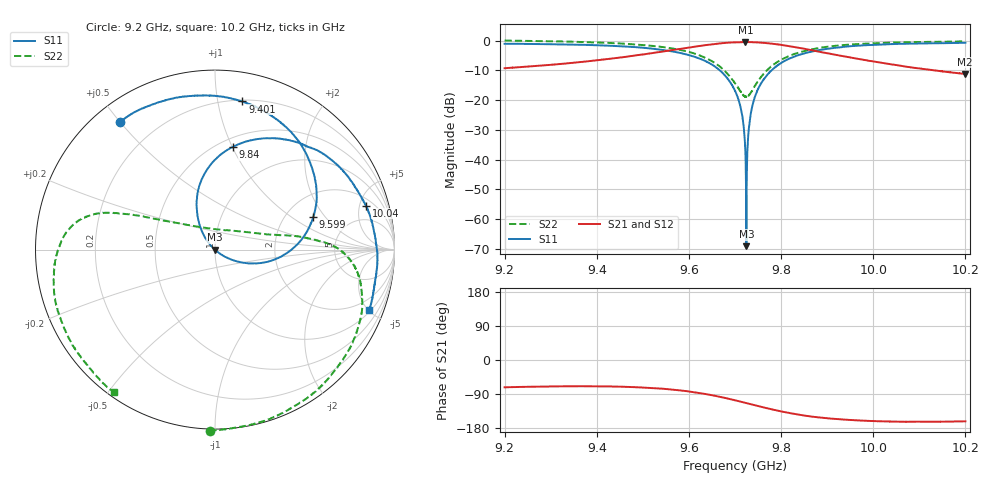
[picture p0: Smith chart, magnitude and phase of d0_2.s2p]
!Agilent Technologies,N5242A,MY51221714,A.09.90.19
!Agilent N5242A: A.09.90.19
!Date: Friday, February 02, 2024 13:05:31
!Correction: S11(Full 2 Port(1,2))
!S21(Full 2 Port(1,2))
!S12(Full 2 Port(1,2))
!S22(Full 2 Port(1,2))
!S2P File: Measurements: S11, S21, S12, S22:
# Hz S  dB  R 50
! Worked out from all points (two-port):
!   16001 points, 9.2 GHz to 10.2 GHz, reference 50 ohm
!   highest |S21| = -0.44 dB at 9.723 GHz (marker M1); lowest = -11.2 dB at 10.2 GHz (marker M2)
!   |S21| within 3 dB of the highest: 9.552 GHz to 9.874 GHz (322.7 MHz wide, 3.32 % of centre); 9.874367 GHz to 9.874381 GHz (14.36 kHz wide, 0.000145 % of centre)
!   lowest |S11| = -69.2 dB at 9.725 GHz (marker M3), VSWR 1.00, Z = 50 + j0.00453 ohm
!   |S11| at or under -10 dB: 9.667121 GHz to 9.667147 GHz (25.81 kHz wide, 0.000267 % of centre); 9.667 GHz to 9.779 GHz (112.1 MHz wide, 1.15 % of centre)
!   |S22| runs from -19.0 to 0.1 dB; largest |S21 - S12| = 0.019
!   S11 on the Smith chart (normalised r, x): 9.2 GHz: 0.08, +0.50; 9.401 GHz: 0.21, +1.18; 9.599 GHz: 2.81, +1.52; 9.84 GHz: 0.58, +1.00; 10.04 GHz: 2.73, +5.76; 10.2 GHz: 1.12, -5.04
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9.2e9  -1.04 126.7  -9.25 -72.0  -9.22 -73.0  0.08 -91.7
9.366688e9  -1.37 88.2  -7.14 -69.2  -7.12 -70.0  -0.44 -46.5
9.401e9  -1.52 79.5  -6.57 -69.3  -6.55 -70.3  -0.60 -37.7
9.533375e9  -2.92 41.7  -3.89 -75.0  -3.87 -75.8  -1.95 -8.6
9.598562e9  -4.79 18.2  -2.34 -82.8  -2.32 -83.8  -3.70 2.1
9.660812e9  -9.22 -8.4  -1.02 -95.6  -1.00 -96.4  -7.94 11.4
9.7e9  -16.84 -27.4  -0.53 -106.3  -0.51 -107.3  -14.29 30.7
9.714625e9  -24.30 -36.5  -0.46 -110.7  -0.43 -111.6  -17.63 55.1
9.722562e9  -37.72 -43.1  -0.44 -113.2  -0.43 -114.1  -18.86 78.1
9.724688e9  -69.17 172.5  -0.46 -113.7  -0.42 -114.7  -18.88 85.7
9.728062e9  -33.73 136.4  -0.46 -114.8  -0.44 -115.8  -18.71 96.6
9.731438e9  -27.63 135.4  -0.46 -115.9  -0.45 -116.9  -18.11 106.5
9.735938e9  -23.10 132.1  -0.48 -117.2  -0.46 -118.2  -17.08 118.1
9.753125e9  -15.29 121.0  -0.61 -122.4  -0.59 -123.4  -12.88 141.2
9.78875e9  -8.71 103.7  -1.15 -132.6  -1.14 -133.6  -7.48 154.7
9.840375e9  -4.73 80.2  -2.42 -144.5  -2.43 -145.5  -3.90 161.3
9.866688e9  -3.65 69.4  -3.21 -149.3  -3.20 -150.2  -2.92 164.4
9.941e9  -1.98 43.6  -5.40 -157.6  -5.40 -158.6  -1.39 176.0
1.003338e10  -1.17 17.2  -7.80 -162.1  -7.80 -163.1  -0.66 -165.3
1.003638e10  -1.14 16.2  -7.87 -162.2  -7.86 -163.2  -0.64 -164.7
1.019962e10  -0.71 -21.3  -11.20 -161.9  -11.17 -162.9  -0.23 -125.5
1.02e10  -0.70 -21.5  -11.19 -161.9  -11.18 -162.9  -0.23 -125.3
